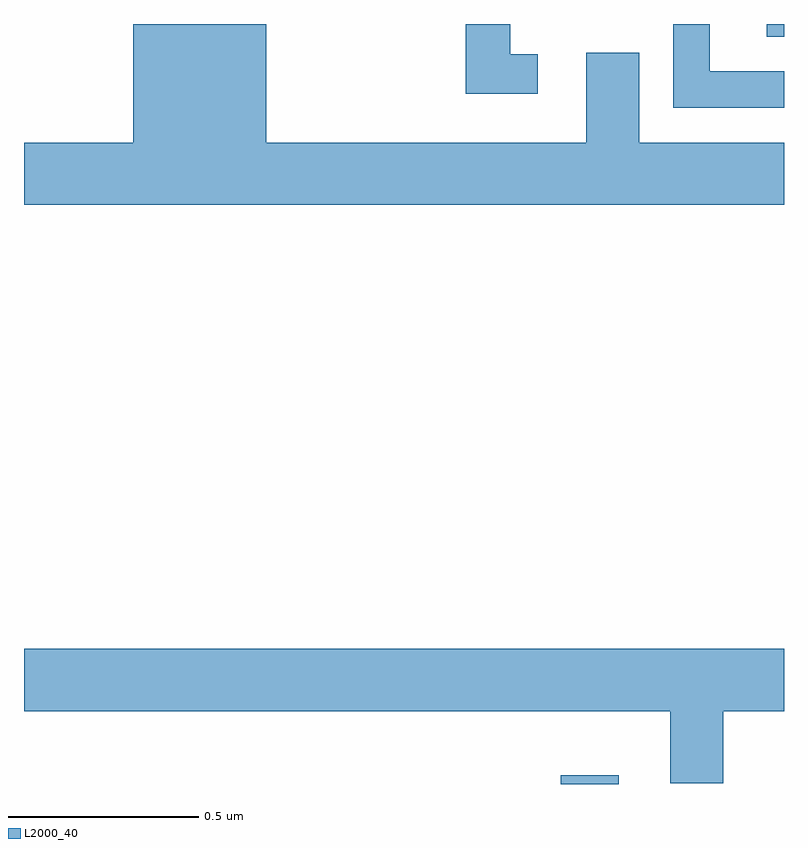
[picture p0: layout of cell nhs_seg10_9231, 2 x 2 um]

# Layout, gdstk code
import gdstk
lib = gdstk.Library(unit=1e-6, precision=1e-09)
def R(c, l, rs):  # rectangles x0, y0, x1, y1
    for r in rs: c.add(gdstk.rectangle(r[:2], r[2:], *l))
def P(c, l, *ps):  # polygons
    for p in ps: c.add(gdstk.Polygon(p, *l))
L2000_40 = (2000, 40)

nhs_seg10_9231 = lib.new_cell('nhs_seg10_9231')
R(nhs_seg10_9231, L2000_40, [(228.413,1257.5,228.565,1257.523), (228.954,1259.466,229,1259.5)])
P(nhs_seg10_9231, L2000_40, [(229,1259.188),(228.619,1259.188),(228.619,1259.424),(228.479,1259.424),(228.479,1259.188),(227.638,1259.188),(227.638,1259.5),(227.288,1259.5),(227.288,1259.188),(227,1259.188),(227,1259.024),(229,1259.024)],
  [(228.352,1259.421),(228.279,1259.421),(228.279,1259.5),(228.163,1259.5),(228.163,1259.316),(228.352,1259.316)],
  [(229,1259.376),(228.805,1259.376),(228.805,1259.5),(228.708,1259.5),(228.708,1259.28),(229,1259.28)],
  [(228.84,1257.692),(229,1257.692),(229,1257.856),(227,1257.856),(227,1257.692),(228.701,1257.692),(228.701,1257.502),(228.84,1257.502)])

lib.write_gds('nhs_seg10_9231.gds')
